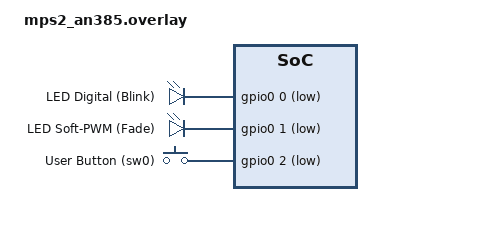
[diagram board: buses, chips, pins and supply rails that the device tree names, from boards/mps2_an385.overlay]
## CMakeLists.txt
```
cmake_minimum_required(VERSION 3.13.1)

find_package(Zephyr REQUIRED HINTS $ENV{ZEPHYR_BASE})
project(radar_system)

target_sources(app PRIVATE src/main.c)
```

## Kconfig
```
# Kconfig - Radar System Configuration

menu "Configuração de Sistema de Radar"

config RADAR_SENSOR_DISTANCE_MM
    int "Distância entre os sensores (MM)"
    default 500
    range 100 2000
    help
      Distancia entre os dois sensores magnéticos usados para calcular a velocidade.

config RADAR_SPEED_LIMIT_LIGHT_KMH
    int "Limite de velocidade para veículos leves (km/h)"
    default 60
    range 30 100
    help
      Velocidade máxima permitida para veículos leves (2 eixos).

config RADAR_SPEED_LIMIT_HEAVY_KMH
    int "Limite de Velocidade para veículos pesados (km/h)"
    default 40
    range 20 80
    help
      Velocidade máxima permitida para veículos pesados (3+ eixos).

config RADAR_WARNING_THRESHOLD_PERCENT
    int "Percentual de limite de velocidade que dispara o aviso"
    default 90
    range 80 99
    help
      Percentual de limite de velocidade que aciona o aviso amarelo na tela.

config RADAR_CAMERA_FAILURE_RATE_PERCENT
    int "Taxa de simulaçao de Falha da Camera (0-100%)"
    default 10
    range 0 100
    help
      Porcetagem de chance da camera simular uma falha.
```

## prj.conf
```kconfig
CONFIG_LOG=y
CONFIG_LOG_MODE_IMMEDIATE=y
CONFIG_UART_CONSOLE=y

CONFIG_GPIO=y
CONFIG_GPIO_EMUL=y
CONFIG_PWM=y


CONFIG_QEMU_ICOUNT=n

CONFIG_ENTROPY_GENERATOR=y
CONFIG_TEST_RANDOM_GENERATOR=y
```

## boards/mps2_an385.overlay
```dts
#include <zephyr/dt-bindings/gpio/gpio.h>

/ {
    aliases {
        led2 = &led2_digital;
        sw0  = &button0;
    };

    leds {
        compatible = "gpio-leds";

        led2_digital: led2_digital {
            gpios = <&gpio0 0 GPIO_ACTIVE_LOW>;
            label = "LED Digital (Blink)";
        };

        led1_digital: led1_digital { 
            gpios = <&gpio0 1 GPIO_ACTIVE_LOW>;
            label = "LED Soft-PWM (Fade)";
        };

 
    };


    buttons {
        compatible = "gpio-keys";

        button0: button_0 {
            gpios = <&gpio0 2 (GPIO_ACTIVE_LOW | GPIO_PULL_UP)>;
            label = "User Button (sw0)";
        };
    };
};
```

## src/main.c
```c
#include <zephyr/kernel.h>
#include <zephyr/device.h>
#include <zephyr/logging/log.h>
#include <zephyr/display/display.h>
#include <zephyr/zbus/zbus.h>

#include "ipc.h"
#include "sensors.h"
#include "controller.h"
#include "camera.h"
#include "display_dummy.h"   /* renomeado para evitar conflito com <display/display.h> */

 
LOG_MODULE_REGISTER(main_mod, LOG_LEVEL_INF);


static const struct device *dummy_display;

static void init_dummy_display(void)
{
    dummy_display = DEVICE_DT_GET(DT_CHOSEN(zephyr_display));
    if (!device_is_ready(dummy_display)) {
        LOG_ERR("Display Dummy NÃO está pronto! (verifique overlay DTS)");
        return;
    }

    LOG_INF("Display Dummy inicializado: %s", dummy_display->name);

    /* Limpa o display ao iniciar */
    display_blanking_off(dummy_display);
    struct display_buffer_descriptor desc = {
        .width = 1,
        .height = 1,
        .pitch = 1,
    };
    uint8_t blank = 0x00;
    display_write(dummy_display, 0, 0, &desc, &blank);
}

void main(void)
{
    LOG_INF("========================================");
    LOG_INF(" Radar Eletrônico - Sistema Iniciado");
    LOG_INF(" Plataforma: mps2_an385 (QEMU)");
    LOG_INF("========================================");

    LOG_INF("Inicializando IPC...");

    (void)get_sensor_msgq();
    (void)get_camera_trigger_chan();
    (void)get_camera_result_chan();
    (void)get_display_status_chan();

    LOG_INF("IPC OK.");

    init_dummy_display();

    LOG_INF("Inicializando módulos...");

    sensors_init();
    controller_init();
    camera_init();
    display_dummy_init();

    LOG_INF("Todos módulos inicializados.");

    LOG_INF("Sistema operacional. Threads ativas.");

    while (1) {
        k_sleep(K_FOREVER);
    }
}
```
